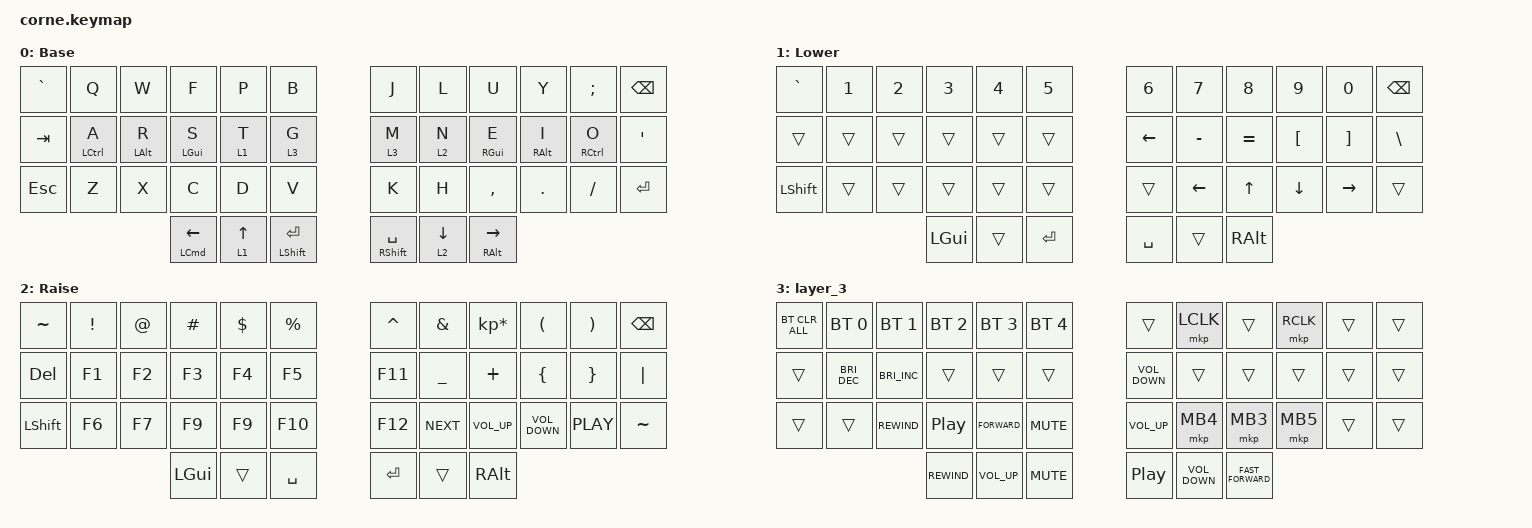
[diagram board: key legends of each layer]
/*
 * Copyright (c) 2020 The ZMK Contributors
 *
 * SPDX-License-Identifier: MIT
 */

#include <behaviors.dtsi>
#include <dt-bindings/zmk/bt.h>
#include <dt-bindings/zmk/keys.h>
#include <dt-bindings/zmk/mouse.h>

/ {
    behaviors {
        hm: homerow_mods {
            compatible = "zmk,behavior-hold-tap";
            #binding-cells = <2>;
            tapping-term-ms = <150>;
            quick-tap-ms = <0>;
            flavor = "balanced";
            bindings = <&kp>, <&kp>;
        };
    };

    combos {
        compatible = "zmk,combos";

        combo_left {
            bindings = <&kp LEFT_ARROW>;
            key-positions = <39 36>;
        };

        combo_right {
            bindings = <&kp RIGHT>;
            key-positions = <41 38>;
        };

        combo_down {
            bindings = <&kp DOWN>;
            key-positions = <40 38>;
        };

        combo_up {
            bindings = <&kp UP_ARROW>;
            key-positions = <39 37>;
        };
    };

    keymap {
        compatible = "zmk,keymap";

        default_layer {
            // -----------------------------------------------------------------------------------------
            // |  TAB |  Q  |  W  |  E  |  R  |  T  |   |  Y  |  U   |  I  |  O  |  P  | BKSP |
            // | CTRL |  A  |  S  |  D  |  F  |  G  |   |  H  |  J   |  K  |  L  |  ;  |  '   |
            // | SHFT |  Z  |  X  |  C  |  V  |  B  |   |  N  |  M   |  ,  |  .  |  /  | ESC  |
            //                    | GUI | LWR | SPC |   | ENT | RSE  | ALT |

            display-name = "Base";
            bindings = <
&kp GRAVE   &kp Q        &kp W           &kp F                        &kp P           &kp B                   &kp J                  &kp L       &kp U                      &kp Y            &kp SEMICOLON  &kp BSPC
&kp TAB     &hm LCTRL A  &hm LEFT_ALT R  &hm LEFT_GUI S               &lt 1 T         &lt 3 G                 &lt 3 M                &lt 2 N     &hm RIGHT_GUI E            &hm RIGHT_ALT I  &hm RCTRL O    &kp SQT
&kp ESCAPE  &kp Z        &kp X           &kp C                        &kp D           &kp V                   &kp K                  &kp H       &kp COMMA                  &kp DOT          &kp FSLH       &kp ENTER
                                         &mt LEFT_COMMAND LEFT_ARROW  &lt 1 UP_ARROW  &mt LEFT_SHIFT ENTER    &mt RIGHT_SHIFT SPACE  &lt 2 DOWN  &mt RIGHT_ALT RIGHT_ARROW
            >;
        };

        lower_layer {
            // -----------------------------------------------------------------------------------------
            // |  TAB |  1  |  2  |  3  |  4  |  5  |   |  6  |  7  |  8  |  9  |  0  | BKSP |
            // | BTCLR| BT1 | BT2 | BT3 | BT4 | BT5 |   | LFT | DWN |  UP | RGT |     |      |
            // | SHFT |     |     |     |     |     |   |     |     |     |     |     |      |
            //                    | GUI |     | SPC |   | ENT |     | ALT |

            display-name = "Lower";
            bindings = <
&kp GRAVE  &kp N1  &kp N2  &kp N3    &kp N4  &kp N5       &kp N6     &kp N7          &kp N8        &kp N9            &kp N0             &kp BSPC
&trans     &trans  &trans  &trans    &trans  &trans       &kp LEFT   &kp MINUS       &kp EQUAL     &kp LEFT_BRACKET  &kp RIGHT_BRACKET  &kp BACKSLASH
&kp LSHFT  &trans  &trans  &trans    &trans  &trans       &trans     &kp LEFT_ARROW  &kp UP_ARROW  &kp DOWN_ARROW    &kp RIGHT          &trans
                           &kp LGUI  &trans  &kp ENTER    &kp SPACE  &trans          &kp RALT
            >;
        };

        raise_layer {
            // -----------------------------------------------------------------------------------------
            // |  TAB |  !  |  @  |  #  |  $  |  %  |   |  ^  |  &  |  *  |  (  |  )  | BKSP |
            // | CTRL |     |     |     |     |     |   |  -  |  =  |  [  |  ]  |  \  |  `   |
            // | SHFT |     |     |     |     |     |   |  _  |  +  |  {  |  }  | "|" |  ~   |
            //                    | GUI |     | SPC |   | ENT |     | ALT |

            display-name = "Raise";
            bindings = <
&kp TILDE   &kp EXCL  &kp AT  &kp HASH  &kp DLLR  &kp PRCNT    &kp CARET  &kp AMPS        &kp KP_MULTIPLY  &kp LPAR           &kp RPAR         &kp BSPC
&kp DELETE  &kp F1    &kp F2  &kp F3    &kp F4    &kp F5       &kp F11    &kp UNDERSCORE  &kp PLUS         &kp LEFT_BRACE     &kp RIGHT_BRACE  &kp PIPE
&kp LSHFT   &kp F6    &kp F7  &kp F9    &kp F9    &kp F10      &kp F12    &kp K_NEXT      &kp C_VOLUME_UP  &kp C_VOLUME_DOWN  &kp C_PLAY       &kp TILDE
                              &kp LGUI  &trans    &kp SPACE    &kp RET    &trans          &kp RALT
            >;
        };

        layer_3 {
            bindings = <
&bt BT_CLR_ALL  &bt BT_SEL 0          &bt BT_SEL 1          &bt BT_SEL 2      &bt BT_SEL 3   &bt BT_SEL 4    &trans             &mkp LCLK          &trans              &mkp RCLK  &trans  &trans
&trans          &kp C_BRIGHTNESS_DEC  &kp C_BRIGHTNESS_INC  &trans            &trans         &trans          &kp C_VOLUME_DOWN  &trans             &trans              &trans     &trans  &trans
&trans          &trans                &kp C_REWIND          &kp C_PLAY_PAUSE  &kp K_FORWARD  &kp K_MUTE      &kp C_VOLUME_UP    &mkp MB4           &mkp MB3            &mkp MB5   &trans  &trans
                                                            &kp C_REWIND      &kp C_VOL_UP   &kp K_MUTE      &kp C_PLAY_PAUSE   &kp C_VOLUME_DOWN  &kp C_FAST_FORWARD
            >;
        };

                extra_1 {
                        status = "reserved";
                };

                extra_2 {
                        status = "reserved";
                };

                extra_3 {
                        status = "reserved";
                };
    };
};
